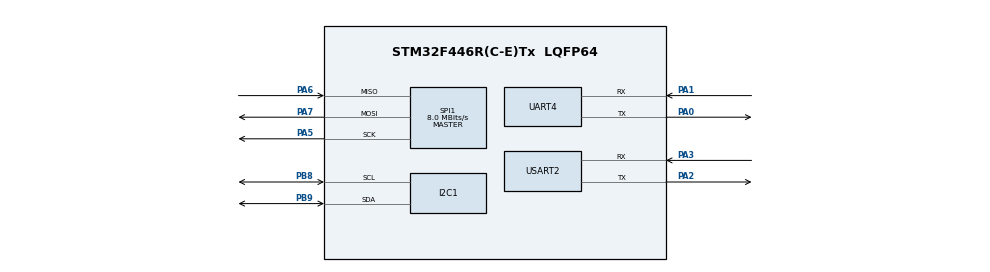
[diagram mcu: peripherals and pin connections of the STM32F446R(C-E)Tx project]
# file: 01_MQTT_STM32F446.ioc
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Dma.Request0=UART4_RX
Dma.UART4_RX.0.Direction=DMA_PERIPH_TO_MEMORY
Dma.UART4_RX.0.FIFOMode=DMA_FIFOMODE_DISABLE
Dma.UART4_RX.0.Instance=DMA1_Stream2
Dma.UART4_RX.0.MemDataAlignment=DMA_MDATAALIGN_BYTE
Dma.UART4_RX.0.MemInc=DMA_MINC_ENABLE
Dma.UART4_RX.0.Mode=DMA_CIRCULAR
Dma.UART4_RX.0.PeriphDataAlignment=DMA_PDATAALIGN_BYTE
Dma.UART4_RX.0.PeriphInc=DMA_PINC_DISABLE
Dma.UART4_RX.0.Priority=DMA_PRIORITY_LOW
Mcu.Family=STM32F4
Mcu.Name=STM32F446R(C-E)Tx
Mcu.Package=LQFP64
NVIC.DMA1_Stream2_IRQn=true\:0\:0\:false\:false\:true\:false\:true\:true
NVIC.PriorityGroup=NVIC_PRIORITYGROUP_4
NVIC.TIM6_DAC_IRQn=true\:15\:0\:false\:false\:true\:false\:true\:true
NVIC.TimeBase=TIM6_DAC_IRQn
NVIC.TimeBaseIP=TIM6
NVIC.UART4_IRQn=true\:0\:0\:false\:false\:true\:true\:true\:true
PA0-WKUP.Mode=Asynchronous
PA0-WKUP.Signal=UART4_TX
PA1.Mode=Asynchronous
PA1.Signal=UART4_RX
PA2.Mode=Asynchronous
PA2.Signal=USART2_TX
PA3.Mode=Asynchronous
PA3.Signal=USART2_RX
PA5.Mode=Full_Duplex_Master
PA5.Signal=SPI1_SCK
PA6.Mode=Full_Duplex_Master
PA6.Signal=SPI1_MISO
PA7.Mode=Full_Duplex_Master
PA7.Signal=SPI1_MOSI
PB8.Mode=I2C
PB8.Signal=I2C1_SCL
PB9.Mode=I2C
PB9.Signal=I2C1_SDA
ProjectManager.HeapSize=0x200
ProjectManager.StackSize=0x400
ProjectManager.TargetToolchain=STM32CubeIDE
RCC.CortexFreq_Value=16000000
RCC.USBFreq_Value=96000000
RCC.VCOOutputFreq_Value=192000000
SPI1.CalculateBaudRate=8.0 MBits/s
SPI1.Direction=SPI_DIRECTION_2LINES
SPI1.Mode=SPI_MODE_MASTER
SPI1.VirtualType=VM_MASTER
UART4.VirtualMode=Asynchronous
USART2.VirtualMode=VM_ASYNC
VP_SYS_VS_tim6.Mode=TIM6
board=custom

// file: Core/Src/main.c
/* USER CODE BEGIN Header */
/**
  ******************************************************************************
  * @file           : main.c
  * @brief          : Main program body
  ******************************************************************************
  * @attention
  *
  * Copyright (c) 2026 STMicroelectronics.
  * All rights reserved.
  *
  * This software is licensed under terms that can be found in the LICENSE file
  * in the root directory of this software component.
  * If no LICENSE file comes with this software, it is provided AS-IS.
  *
  ******************************************************************************
  */
/* USER CODE END Header */
#include "main.h"

/* USER CODE BEGIN Includes */
#include "esp32_at.h"
#include "sh1106.h"
#include "oled_util.h"
#include "application_config.h"
#include "utils.h"
/* USER CODE END Includes */

I2C_HandleTypeDef hi2c1;

SPI_HandleTypeDef hspi1;

UART_HandleTypeDef huart4;
UART_HandleTypeDef huart2;
DMA_HandleTypeDef hdma_uart4_rx;

void SystemClock_Config(void);
static void MX_GPIO_Init(void);
static void MX_DMA_Init(void);
static void MX_UART4_Init(void);
static void MX_I2C1_Init(void);
static void MX_USART2_UART_Init(void);
static void MX_SPI1_Init(void);
/* USER CODE BEGIN PFP */
extern void initialise_monitor_handles(void);
/* USER CODE END PFP */

int main(void)
{

  /* USER CODE BEGIN 1 */
	initialise_monitor_handles();
  /* USER CODE END 1 */

  /* MCU Configuration--------------------------------------------------------*/

  /* Reset of all peripherals, Initializes the Flash interface and the Systick. */
  HAL_Init();

  /* Configure the system clock */
  SystemClock_Config();

  /* Initialize all configured peripherals */
  MX_GPIO_Init();
  MX_DMA_Init();
  MX_UART4_Init();
  MX_I2C1_Init();
  MX_USART2_UART_Init();
  MX_SPI1_Init();
  /* USER CODE BEGIN 2 */

  // ESP32 Setup Wifi
	LogInfo(("Initializing ESP32 Wifi Module...\n"));
	if (esp32_init() != ESP32_OK){
	  LogInfo(("Failed to Initialize ESP32 Wifi Module. \n"));
	  Error_Handler();
	}
	LogInfo(("Initialized ESP32 Wifi Module successfully! \n"));

	LogInfo(("Connecting to WIFI AP: '%s' \n", WIFI_SSID));
	// keep trying until connected
	while(esp32_join_ap((uint8_t *) WIFI_SSID, (uint8_t *) WIFI_PASSWORD) != ESP32_OK) {
	  LogInfo(("Retrying to connect to WIFI AP: '%s' ... \n", WIFI_SSID));
	}
	LogInfo(("Successfully connected to WIFI AP: '%s' \n", WIFI_SSID));

	/* Ask the ESP32 for the IP assigned by the router. */
	ESP32_Print_IP_Address();

	/* Ensure MX_SPI1_Init() has already been called. */
	if (sh1106_init(&hspi1) != SH1106_OK) {
		Error_Handler();
	}

	oled_show_message("Fastbit IoT", "Starting...");

  /* USER CODE END 2 */

  /* Infinite loop */
  while (1)
  {

  }
}

void SystemClock_Config(void)
{
  RCC_OscInitTypeDef RCC_OscInitStruct = {0};
  RCC_ClkInitTypeDef RCC_ClkInitStruct = {0};

  /** Configure the main internal regulator output voltage
  */
  __HAL_RCC_PWR_CLK_ENABLE();
  __HAL_PWR_VOLTAGESCALING_CONFIG(PWR_REGULATOR_VOLTAGE_SCALE3);

  /** Initializes the RCC Oscillators according to the specified parameters
  * in the RCC_OscInitTypeDef structure.
  */
  RCC_OscInitStruct.OscillatorType = RCC_OSCILLATORTYPE_HSI;
  RCC_OscInitStruct.HSIState = RCC_HSI_ON;
  RCC_OscInitStruct.HSICalibrationValue = RCC_HSICALIBRATION_DEFAULT;
  RCC_OscInitStruct.PLL.PLLState = RCC_PLL_NONE;
  if (HAL_RCC_OscConfig(&RCC_OscInitStruct) != HAL_OK)
  {
    Error_Handler();
  }

  /** Initializes the CPU, AHB and APB buses clocks
  */
  RCC_ClkInitStruct.ClockType = RCC_CLOCKTYPE_HCLK|RCC_CLOCKTYPE_SYSCLK
                              |RCC_CLOCKTYPE_PCLK1|RCC_CLOCKTYPE_PCLK2;
  RCC_ClkInitStruct.SYSCLKSource = RCC_SYSCLKSOURCE_HSI;
  RCC_ClkInitStruct.AHBCLKDivider = RCC_SYSCLK_DIV1;
  RCC_ClkInitStruct.APB1CLKDivider = RCC_HCLK_DIV1;
  RCC_ClkInitStruct.APB2CLKDivider = RCC_HCLK_DIV1;

  if (HAL_RCC_ClockConfig(&RCC_ClkInitStruct, FLASH_LATENCY_0) != HAL_OK)
  {
    Error_Handler();
  }
}

static void MX_I2C1_Init(void)
{

  hi2c1.Instance = I2C1;
  hi2c1.Init.ClockSpeed = 100000;
  hi2c1.Init.DutyCycle = I2C_DUTYCYCLE_2;
  hi2c1.Init.OwnAddress1 = 0;
  hi2c1.Init.AddressingMode = I2C_ADDRESSINGMODE_7BIT;
  hi2c1.Init.DualAddressMode = I2C_DUALADDRESS_DISABLE;
  hi2c1.Init.OwnAddress2 = 0;
  hi2c1.Init.GeneralCallMode = I2C_GENERALCALL_DISABLE;
  hi2c1.Init.NoStretchMode = I2C_NOSTRETCH_DISABLE;
  if (HAL_I2C_Init(&hi2c1) != HAL_OK)
  {
    Error_Handler();
  }

}

static void MX_SPI1_Init(void)
{

  /* SPI1 parameter configuration*/
  hspi1.Instance = SPI1;
  hspi1.Init.Mode = SPI_MODE_MASTER;
  hspi1.Init.Direction = SPI_DIRECTION_2LINES;
  hspi1.Init.DataSize = SPI_DATASIZE_8BIT;
  hspi1.Init.CLKPolarity = SPI_POLARITY_LOW;
  hspi1.Init.CLKPhase = SPI_PHASE_1EDGE;
  hspi1.Init.NSS = SPI_NSS_SOFT;
  hspi1.Init.BaudRatePrescaler = SPI_BAUDRATEPRESCALER_2;
  hspi1.Init.FirstBit = SPI_FIRSTBIT_MSB;
  hspi1.Init.TIMode = SPI_TIMODE_DISABLE;
  hspi1.Init.CRCCalculation = SPI_CRCCALCULATION_DISABLE;
  hspi1.Init.CRCPolynomial = 10;
  if (HAL_SPI_Init(&hspi1) != HAL_OK)
  {
    Error_Handler();
  }

}

static void MX_UART4_Init(void)
{

  huart4.Instance = UART4;
  huart4.Init.BaudRate = 115200;
  huart4.Init.WordLength = UART_WORDLENGTH_8B;
  huart4.Init.StopBits = UART_STOPBITS_1;
  huart4.Init.Parity = UART_PARITY_NONE;
  huart4.Init.Mode = UART_MODE_TX_RX;
  huart4.Init.HwFlowCtl = UART_HWCONTROL_NONE;
  huart4.Init.OverSampling = UART_OVERSAMPLING_16;
  if (HAL_UART_Init(&huart4) != HAL_OK)
  {
    Error_Handler();
  }

}

static void MX_USART2_UART_Init(void)
{

  huart2.Instance = USART2;
  huart2.Init.BaudRate = 115200;
  huart2.Init.WordLength = UART_WORDLENGTH_8B;
  huart2.Init.StopBits = UART_STOPBITS_1;
  huart2.Init.Parity = UART_PARITY_NONE;
  huart2.Init.Mode = UART_MODE_TX_RX;
  huart2.Init.HwFlowCtl = UART_HWCONTROL_NONE;
  huart2.Init.OverSampling = UART_OVERSAMPLING_16;
  if (HAL_UART_Init(&huart2) != HAL_OK)
  {
    Error_Handler();
  }

}

static void MX_DMA_Init(void)
{

  /* DMA controller clock enable */
  __HAL_RCC_DMA1_CLK_ENABLE();

  /* DMA interrupt init */
  /* DMA1_Stream2_IRQn interrupt configuration */
  HAL_NVIC_SetPriority(DMA1_Stream2_IRQn, 0, 0);
  HAL_NVIC_EnableIRQ(DMA1_Stream2_IRQn);

}

static void MX_GPIO_Init(void)
{

  /* GPIO Ports Clock Enable */
  __HAL_RCC_GPIOA_CLK_ENABLE();
  __HAL_RCC_GPIOB_CLK_ENABLE();

}

void HAL_TIM_PeriodElapsedCallback(TIM_HandleTypeDef *htim)
{
  if (htim->Instance == TIM6)
  {
    HAL_IncTick();
  }
}

void Error_Handler(void)
{
  __disable_irq();
  while (1)
  {
  }
}
